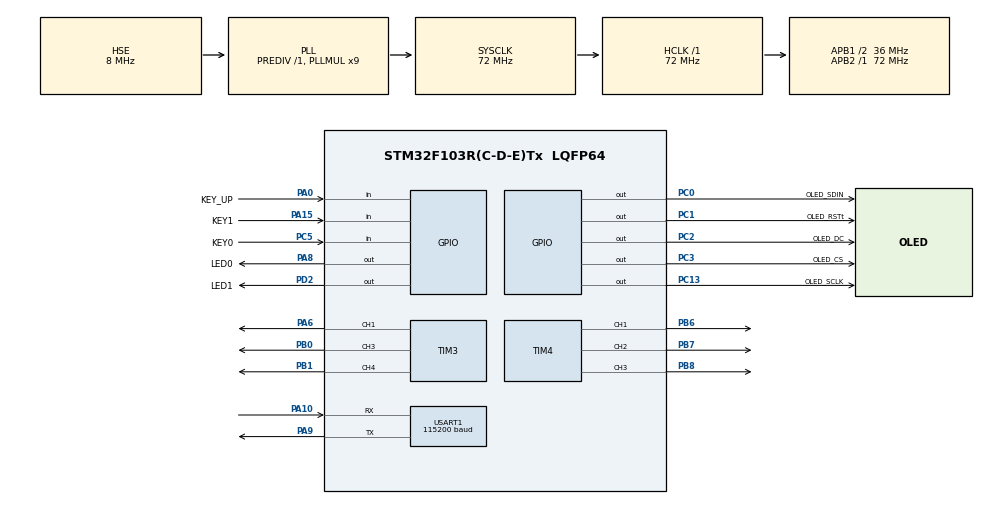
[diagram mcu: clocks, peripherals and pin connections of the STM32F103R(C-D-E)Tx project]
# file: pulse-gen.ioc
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Dma.Request0=TIM3_CH1/TRIG
Dma.Request1=TIM3_CH3
Dma.Request2=TIM3_CH4/UP
Dma.Request3=TIM4_CH1
Dma.Request4=TIM4_CH2
Dma.Request5=TIM4_CH3
Dma.TIM3_CH1/TRIG.0.Direction=DMA_MEMORY_TO_PERIPH
Dma.TIM3_CH1/TRIG.0.Instance=DMA1_Channel6
Dma.TIM3_CH1/TRIG.0.MemDataAlignment=DMA_MDATAALIGN_HALFWORD
Dma.TIM3_CH1/TRIG.0.MemInc=DMA_MINC_ENABLE
Dma.TIM3_CH1/TRIG.0.Mode=DMA_CIRCULAR
Dma.TIM3_CH1/TRIG.0.PeriphDataAlignment=DMA_PDATAALIGN_HALFWORD
Dma.TIM3_CH1/TRIG.0.PeriphInc=DMA_PINC_DISABLE
Dma.TIM3_CH1/TRIG.0.Priority=DMA_PRIORITY_VERY_HIGH
Dma.TIM3_CH3.1.Direction=DMA_MEMORY_TO_PERIPH
Dma.TIM3_CH3.1.Instance=DMA1_Channel2
Dma.TIM3_CH3.1.MemDataAlignment=DMA_MDATAALIGN_HALFWORD
Dma.TIM3_CH3.1.MemInc=DMA_MINC_ENABLE
Dma.TIM3_CH3.1.Mode=DMA_CIRCULAR
Dma.TIM3_CH3.1.PeriphDataAlignment=DMA_PDATAALIGN_HALFWORD
Dma.TIM3_CH3.1.PeriphInc=DMA_PINC_DISABLE
Dma.TIM3_CH3.1.Priority=DMA_PRIORITY_VERY_HIGH
Dma.TIM3_CH4/UP.2.Direction=DMA_MEMORY_TO_PERIPH
Dma.TIM3_CH4/UP.2.Instance=DMA1_Channel3
Dma.TIM3_CH4/UP.2.MemDataAlignment=DMA_MDATAALIGN_HALFWORD
Dma.TIM3_CH4/UP.2.MemInc=DMA_MINC_ENABLE
Dma.TIM3_CH4/UP.2.Mode=DMA_CIRCULAR
Dma.TIM3_CH4/UP.2.PeriphDataAlignment=DMA_PDATAALIGN_HALFWORD
Dma.TIM3_CH4/UP.2.PeriphInc=DMA_PINC_DISABLE
Dma.TIM3_CH4/UP.2.Priority=DMA_PRIORITY_VERY_HIGH
Dma.TIM4_CH1.3.Direction=DMA_MEMORY_TO_PERIPH
Dma.TIM4_CH1.3.Instance=DMA1_Channel1
Dma.TIM4_CH1.3.MemDataAlignment=DMA_MDATAALIGN_HALFWORD
Dma.TIM4_CH1.3.MemInc=DMA_MINC_ENABLE
Dma.TIM4_CH1.3.Mode=DMA_CIRCULAR
Dma.TIM4_CH1.3.PeriphDataAlignment=DMA_PDATAALIGN_HALFWORD
Dma.TIM4_CH1.3.PeriphInc=DMA_PINC_DISABLE
Dma.TIM4_CH1.3.Priority=DMA_PRIORITY_VERY_HIGH
Dma.TIM4_CH2.4.Direction=DMA_MEMORY_TO_PERIPH
Dma.TIM4_CH2.4.Instance=DMA1_Channel4
Dma.TIM4_CH2.4.MemDataAlignment=DMA_MDATAALIGN_HALFWORD
Dma.TIM4_CH2.4.MemInc=DMA_MINC_ENABLE
Dma.TIM4_CH2.4.Mode=DMA_CIRCULAR
Dma.TIM4_CH2.4.PeriphDataAlignment=DMA_PDATAALIGN_HALFWORD
Dma.TIM4_CH2.4.PeriphInc=DMA_PINC_DISABLE
Dma.TIM4_CH2.4.Priority=DMA_PRIORITY_VERY_HIGH
Dma.TIM4_CH3.5.Direction=DMA_MEMORY_TO_PERIPH
Dma.TIM4_CH3.5.Instance=DMA1_Channel5
Dma.TIM4_CH3.5.MemDataAlignment=DMA_MDATAALIGN_HALFWORD
Dma.TIM4_CH3.5.MemInc=DMA_MINC_ENABLE
Dma.TIM4_CH3.5.Mode=DMA_CIRCULAR
Dma.TIM4_CH3.5.PeriphDataAlignment=DMA_PDATAALIGN_HALFWORD
Dma.TIM4_CH3.5.PeriphInc=DMA_PINC_DISABLE
Dma.TIM4_CH3.5.Priority=DMA_PRIORITY_VERY_HIGH
Mcu.Family=STM32F1
Mcu.Name=STM32F103R(C-D-E)Tx
Mcu.Package=LQFP64
NVIC.PriorityGroup=NVIC_PRIORITYGROUP_4
PA0-WKUP.GPIO_Label=KEY_UP
PA0-WKUP.GPIO_PuPd=GPIO_PULLDOWN
PA0-WKUP.Signal=GPIO_Input
PA10.Mode=Asynchronous
PA10.Signal=USART1_RX
PA13.Mode=Serial_Wire
PA13.Signal=SYS_JTMS-SWDIO
PA14.Mode=Serial_Wire
PA14.Signal=SYS_JTCK-SWCLK
PA15.GPIO_Label=KEY1
PA15.GPIO_PuPd=GPIO_PULLUP
PA15.Signal=GPIO_Input
PA6.GPIO_Speed=GPIO_SPEED_FREQ_HIGH
PA6.Signal=S_TIM3_CH1
PA8.GPIO_Label=LED0
PA8.GPIO_PuPd=GPIO_PULLDOWN
PA8.PinState=GPIO_PIN_RESET
PA8.Signal=GPIO_Output
PA9.Mode=Asynchronous
PA9.Signal=USART1_TX
PB0.GPIO_Speed=GPIO_SPEED_FREQ_HIGH
PB0.Signal=S_TIM3_CH3
PB1.GPIO_Speed=GPIO_SPEED_FREQ_HIGH
PB1.Signal=S_TIM3_CH4
PB6.GPIO_Speed=GPIO_SPEED_FREQ_HIGH
PB6.Signal=S_TIM4_CH1
PB7.GPIO_Speed=GPIO_SPEED_FREQ_HIGH
PB7.Signal=S_TIM4_CH2
PB8.GPIO_Speed=GPIO_SPEED_FREQ_HIGH
PB8.Signal=S_TIM4_CH3
PC0.GPIO_Label=OLED_SDIN
PC0.GPIO_Speed=GPIO_SPEED_FREQ_MEDIUM
PC0.Signal=GPIO_Output
PC1.GPIO_Label=OLED_RST\t
PC1.GPIO_Speed=GPIO_SPEED_FREQ_MEDIUM
PC1.Signal=GPIO_Output
PC13-TAMPER-RTC.GPIO_Label=OLED_SCLK
PC13-TAMPER-RTC.GPIO_Speed=GPIO_SPEED_FREQ_MEDIUM
PC13-TAMPER-RTC.Signal=GPIO_Output
PC14-OSC32_IN.Mode=LSE-External-Oscillator
PC14-OSC32_IN.Signal=RCC_OSC32_IN
PC15-OSC32_OUT.Mode=LSE-External-Oscillator
PC15-OSC32_OUT.Signal=RCC_OSC32_OUT
PC2.GPIO_Label=OLED_DC
PC2.GPIO_Speed=GPIO_SPEED_FREQ_MEDIUM
PC2.Signal=GPIO_Output
PC3.GPIO_Label=OLED_CS
PC3.GPIO_Speed=GPIO_SPEED_FREQ_MEDIUM
PC3.Signal=GPIO_Output
PC5.GPIO_Label=KEY0
PC5.GPIO_PuPd=GPIO_PULLUP
PC5.Signal=GPIO_Input
PD0-OSC_IN.Mode=HSE-External-Oscillator
PD0-OSC_IN.Signal=RCC_OSC_IN
PD1-OSC_OUT.Mode=HSE-External-Oscillator
PD1-OSC_OUT.Signal=RCC_OSC_OUT
PD2.GPIO_Label=LED1
PD2.GPIO_PuPd=GPIO_PULLDOWN
PD2.PinState=GPIO_PIN_RESET
PD2.Signal=GPIO_Output
ProjectManager.HeapSize=0x200
ProjectManager.StackSize=0x400
ProjectManager.TargetToolchain=STM32CubeIDE
RCC.AHBFreq_Value=72000000
RCC.APB1CLKDivider=RCC_HCLK_DIV2
RCC.APB1Freq_Value=36000000
RCC.APB1TimFreq_Value=72000000
RCC.APB2Freq_Value=72000000
RCC.APB2TimFreq_Value=72000000
RCC.HCLKFreq_Value=72000000
RCC.PLLMUL=RCC_PLL_MUL9
RCC.PLLSourceVirtual=RCC_PLLSOURCE_HSE
RCC.SYSCLKFreq_VALUE=72000000
RCC.SYSCLKSource=RCC_SYSCLKSOURCE_PLLCLK
RCC.USBFreq_Value=72000000
SH.S_TIM3_CH1.0=TIM3_CH1,Output Compare1 CH1
SH.S_TIM3_CH3.0=TIM3_CH3,Output Compare3 CH3
SH.S_TIM3_CH4.0=TIM3_CH4,Output Compare4 CH4
SH.S_TIM4_CH1.0=TIM4_CH1,Output Compare1 CH1
SH.S_TIM4_CH2.0=TIM4_CH2,Output Compare2 CH2
SH.S_TIM4_CH3.0=TIM4_CH3,Output Compare3 CH3
TIM3.Channel-Output\ Compare1\ CH1=TIM_CHANNEL_1
TIM3.Channel-Output\ Compare3\ CH3=TIM_CHANNEL_3
TIM3.Channel-Output\ Compare4\ CH4=TIM_CHANNEL_4
TIM3.OCMode_1=TIM_OCMODE_FORCED_INACTIVE
TIM3.OCMode_3=TIM_OCMODE_FORCED_INACTIVE
TIM3.OCMode_4=TIM_OCMODE_FORCED_INACTIVE
TIM3.TIM_MasterOutputTrigger=TIM_TRGO_ENABLE
TIM3.TIM_MasterSlaveMode=TIM_MASTERSLAVEMODE_ENABLE
TIM4.Channel-Output\ Compare1\ CH1=TIM_CHANNEL_1
TIM4.Channel-Output\ Compare2\ CH2=TIM_CHANNEL_2
TIM4.Channel-Output\ Compare3\ CH3=TIM_CHANNEL_3
TIM4.OCMode_1=TIM_OCMODE_FORCED_INACTIVE
TIM4.OCMode_2=TIM_OCMODE_FORCED_INACTIVE
TIM4.OCMode_3=TIM_OCMODE_FORCED_INACTIVE
USART1.BaudRate=115200
USART1.Mode=MODE_TX_RX
USART1.VirtualMode=VM_ASYNC
VP_TIM3_VS_ClockSourceINT.Mode=Internal
VP_TIM4_VS_ClockSourceINT.Mode=Internal
VP_TIM4_VS_ClockSourceITR.Mode=TriggerSource_ITR2
VP_TIM4_VS_ControllerModeGated.Mode=Gated Mode
board=custom

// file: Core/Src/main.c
/* USER CODE BEGIN Header */
/**
  ******************************************************************************
  * @file           : main.c
  * @brief          : Main program body
  ******************************************************************************
  * @attention
  *
  * Copyright (c) 2026 STMicroelectronics.
  * All rights reserved.
  *
  * This software is licensed under terms that can be found in the LICENSE file
  * in the root directory of this software component.
  * If no LICENSE file comes with this software, it is provided AS-IS.
  *
  ******************************************************************************
  */
/* USER CODE END Header */
#include "main.h"
#include "dma.h"
#include "tim.h"
#include "usart.h"
#include "gpio.h"

/* USER CODE BEGIN Includes */
#include <stdio.h>
#include "pulse.h"
#include "key.h"
#include "display.h"
#include "pwm.h"
/* USER CODE END Includes */

/* USER CODE BEGIN PM */
#define LED0_ON()       HAL_GPIO_WritePin(LED0_GPIO_Port, LED0_Pin, GPIO_PIN_RESET)
#define LED0_OFF()      HAL_GPIO_WritePin(LED0_GPIO_Port, LED0_Pin, GPIO_PIN_SET)
#define LED0_BLINK()    HAL_GPIO_TogglePin(LED0_GPIO_Port, LED0_Pin)

#define LED1_ON()       HAL_GPIO_WritePin(LED1_GPIO_Port, LED1_Pin, GPIO_PIN_RESET)
#define LED1_OFF()      HAL_GPIO_WritePin(LED1_GPIO_Port, LED1_Pin, GPIO_PIN_SET)
#define LED1_BLINK()    HAL_GPIO_TogglePin(LED1_GPIO_Port, LED1_Pin)

/* USER CODE END PM */

/* USER CODE BEGIN PV */
static uint32_t g_last_tick = 0;          /* 上次1秒任务执行时刻 */
static uint32_t g_uptime_s = 0;           /* 开机以来的秒数 */
static char g_line[96];                   /* 串口打印缓冲 */

/* UI 状态机 */
typedef enum
{
  UI_HOME_BROWSE = 0,                     /* 主页浏览: 上下移动光标 */
  UI_HOME_MODESEL,                        /* 主页模式滚动选择 */
  UI_CH_PAGE,                             /* 通道选择子页 */
  UI_EDIT_PAGE                            /* 数值编辑子页 */
} ui_state_t;

static ui_state_t g_ui_state = UI_HOME_BROWSE;
static pulse_page_t g_page;               /* 主页行列表 */
static uint8_t g_cursor = 0;              /* 主页光标(页面行索引) */
static uint8_t g_scroll_top = 0;          /* 主页列表滚动起点 */
static uint8_t g_ch_cursor = 0;           /* 通道子页光标(0=Back,1~6通道,7=Sync) */
static uint8_t g_ch_scroll = 0;           /* 通道子页滚动起点 */
static pulse_edit_info_t g_edit_info;     /* 编辑子页信息 */
static pulse_mode_t g_mode_backup;        /* 进入模式选择前的备份 */
static pwm_req_t g_pwm_req;               /* PWM 启动请求(编辑/启停时组装) */
static uint8_t g_display_dirty = 1;       /* 需要刷新显示 */
/* USER CODE END PV */

void SystemClock_Config(void);

/* USER CODE BEGIN 0 */

/**
 * @brief  从业务参数组装 PWM 启动请求
 */
static void build_pwm_req(void)
{
  const pulse_param_t *p = pulse_param_get();
  uint8_t i;

  g_pwm_req.sync = p->pwm_sync;
  g_pwm_req.freq_hz[0] = p->freq_hz[0];
  g_pwm_req.freq_hz[1] = p->freq_hz[1];

  for (i = 0u; i < PWM_CH_TOTAL; i++)
  {
    g_pwm_req.ch_en[i] = p->ch[i].enabled;
    g_pwm_req.ch_duty[i] = p->ch[i].duty_bp;
    g_pwm_req.ch_phase[i] = p->ch[i].phase_pct;
  }
}

/**
 * @brief  停止 PWM 输出并同步 PWMEn 标志(UI 显示一致)
 */
static void pwm_out_stop(void)
{
  pwm_stop();

  if (pulse_param_get()->pwm_enabled)
  {
    pulse_pwm_toggle();     /* 置 OFF */
  }

  pulse_cs_disable();       /* 清零信号同步禁用(切模式/进子页时UI一致) */
}

/**
 * @brief  尝试启动清零+单脉冲输出(校验失败不动作)
 * @return 1=已应用, 0=校验失败
 */
static uint8_t cs_out_apply(void)
{
  const pulse_param_t *p = pulse_param_get();

  if (pwm_cs_validate(p->cs_freq_hz, p->cs_clrw_us, p->cs_clri_us, p->cs_pulse_us) == 0u)
  {
    printf("CS apply: validate FAIL (F=%lu ClrW=%lu ClrI=%lu Pulse=%lu)\r\n",
           (unsigned long)p->cs_freq_hz, (unsigned long)p->cs_clrw_us,
           (unsigned long)p->cs_clri_us, (unsigned long)p->cs_pulse_us);
    return 0u;
  }

  pwm_cs_apply(p->cs_freq_hz, p->cs_clrw_us, p->cs_clri_us, p->cs_pulse_us,
               p->cs_enabled);
  return 1u;
}

/**
 * @brief  尝试启动 PWM 输出: 校验失败不动作(配置恒为可启动合法态)
 */
static void pwm_out_start(void)
{
  build_pwm_req();

  if (pwm_validate(&g_pwm_req) == 0u)
  {
    printf("PWM start: validate FAIL (freq=%lu/%luHz sync=%u)\r\n",
           (unsigned long)g_pwm_req.freq_hz[0],
           (unsigned long)g_pwm_req.freq_hz[1], g_pwm_req.sync);
    return;
  }

  if (pwm_apply(&g_pwm_req))
  {
    printf("PWM start OK: F=%luHz sync=%u CEN3=%u CEN4=%u\r\n",
           (unsigned long)g_pwm_req.freq_hz[0], g_pwm_req.sync,
           (unsigned)((TIM3->CR1 & TIM_CR1_CEN) != 0u),
           (unsigned)((TIM4->CR1 & TIM_CR1_CEN) != 0u));
    if (!pulse_param_get()->pwm_enabled)
    {
      pulse_pwm_toggle();   /* 置 ON */
    }
  }
  else
  {
    printf("PWM start: apply FAIL\r\n");
  }
}

/**
 * @brief  按住时长映射为编辑步进倍率: 短按=1, 按住2s后=10, 5s后=100
 */
static uint32_t edit_step_mult(key_id_t id)
{
  uint32_t hold = key_hold_ms(id);

  if (hold >= 5000u)
  {
    return 100u;
  }

  if (hold >= 2000u)
  {
    return 10u;
  }

  return 1u;
}

/**
 * @brief  重建主页行列表并钳制光标/滚动位置
 */
static void main_rebuild_page(void)
{
  pulse_build_main_page(&g_page);

  if (g_cursor >= g_page.count)
  {
    g_cursor = (uint8_t)(g_page.count - 1u);
  }
}

/**
 * @brief  主页列表滚动跟随光标: 4行窗口, 所有行(含模式行)同权滚动
 */
static void main_fix_scroll(void)
{
  if (g_page.count <= 4u)
  {
    g_scroll_top = 0u;
    return;
  }

  if (g_scroll_top > (uint8_t)(g_page.count - 4u))
  {
    g_scroll_top = (uint8_t)(g_page.count - 4u);
  }

  if (g_cursor < g_scroll_top)
  {
    g_scroll_top = g_cursor;
  }

  if (g_cursor > (uint8_t)(g_scroll_top + 3u))
  {
    g_scroll_top = (uint8_t)(g_cursor - 3u);
  }
}

/**
 * @brief  通道子页滚动跟随光标(4行窗口, 5行内容)
 */
static void ch_fix_scroll(void)
{
  if (g_ch_cursor < g_ch_scroll)
  {
    g_ch_scroll = g_ch_cursor;
  }

  if (g_ch_cursor > (uint8_t)(g_ch_scroll + 3u))
  {
    g_ch_scroll = (uint8_t)(g_ch_cursor - 3u);
  }
}

/**
 * @brief  处理一个按键事件(电视遥控式交互)
 *  主页浏览: 上/下移动光标; 确认: 模式行进滚动选择, CHSel进通道子页, 数值行进编辑子页
 *  模式选择: 上/下实时切换模式(各模式参数独立), 短按确认锁定, 长按取消恢复
 *  通道子页: 确认直接翻转勾选, Back行确认返回; 长按确认也返回
 *  编辑子页: 上/下改值, 短按确认保存返回, 长按确认取消恢复
 */
static void ui_handle_event(key_event_t ev, key_id_t id)
{
  uint8_t move = (ev == KEY_EVENT_DOWN) || (ev == KEY_EVENT_REPEAT);

  switch (g_ui_state)
  {
    case UI_HOME_BROWSE:
      if (move && id == KEY_ID_UP)
      {
        g_cursor = (g_cursor == 0u)
                   ? (uint8_t)(g_page.count - 1u) : (uint8_t)(g_cursor - 1u);
        main_fix_scroll();
      }
      else if (move && id == KEY_ID_DOWN)
      {
        g_cursor = (g_cursor >= (uint8_t)(g_page.count - 1u))
                   ? 0u : (uint8_t)(g_cursor + 1u);
        main_fix_scroll();
      }
      else if (id == KEY_ID_CONFIRM && ev == KEY_EVENT_RELEASE_SHORT)
      {
        uint8_t type = g_page.row[g_cursor].type;

        if (type == (uint8_t)PULSE_ROW_MODE)
        {
          g_mode_backup = pulse_param_get()->mode;
          g_ui_state = UI_HOME_MODESEL;
        }
        else if (type == (uint8_t)PULSE_ROW_CHSEL)
        {
          /* 进通道子页前禁用输出(用户约定: 退出后保持停止, 手动PWMEn恢复) */
          pwm_out_stop();
          g_ch_cursor = 0u;
          g_ch_scroll = 0u;
          g_ui_state = UI_CH_PAGE;
        }
        else if (type == (uint8_t)PULSE_ROW_PWM_EN)
        {
          /* 布尔项: 确认直接翻转; ON=按当前参数启动输出 */
          if (!pulse_param_get()->pwm_enabled)
          {
            pwm_out_start();
          }
          else
          {
            pwm_out_stop();
          }
        }
        else if (type == (uint8_t)PULSE_ROW_CS_EN)
        {
          /* 清零使能: ON=启动清零流(T3连续+触发链); OFF=全停 */
          pulse_cs_toggle();

          if (pulse_param_get()->cs_enabled)
          {
            if (cs_out_apply() == 0u)
            {
              pulse_cs_toggle();    /* 校验失败回滚, 保持OFF */
            }
          }
          else
          {
            pwm_stop();             /* 全停(含武装中的T4) */
          }
        }
        else if (type == (uint8_t)PULSE_ROW_TIM_FREQ ||
                 type == (uint8_t)PULSE_ROW_CH_DUTY ||
                 type == (uint8_t)PULSE_ROW_CH_PHASE ||
                 type == (uint8_t)PULSE_ROW_DUAL_P1 ||
                 type == (uint8_t)PULSE_ROW_DUAL_GAP ||
                 type == (uint8_t)PULSE_ROW_DUAL_P2 ||
                 type == (uint8_t)PULSE_ROW_CS_FREQ ||
                 type == (uint8_t)PULSE_ROW_CS_CLRW ||
                 type == (uint8_t)PULSE_ROW_CS_CLRI ||
                 type == (uint8_t)PULSE_ROW_CS_PULSE)
        {
          if (pulse_begin_edit(type, g_page.row[g_cursor].idx, &g_edit_info))
          {
            g_ui_state = UI_EDIT_PAGE;
          }
        }
        else if (type == (uint8_t)PULSE_ROW_TRIGGER)
        {
          /* 触发脉冲: 确认一次触发一次
           * 双脉冲模式 = 真触发(固定全通道齐发 P1/Gap/P2, 运行中丢弃;
           *              PWM模式的通道勾选仅作用于PWM模式)
           * 其他模式   = 计数桩(硬件后配) */
          const pulse_param_t *pp = pulse_param_get();

          if ((pp->mode == PULSE_MODE_DUAL) &&
              pwm_fire_dual(pp->dual_p1_us, pp->dual_gap_us, pp->dual_p2_us))
          {
            pulse_trigger_fire();     /* 计数+LED反馈走原有路径 */
          }
          else if (pp->mode == PULSE_MODE_DUAL)
          {
            printf(">> Dual fire FAIL (busy/resolution)\r\n");
          }
          else if (pp->mode == PULSE_MODE_CLEAR_SINGLE)
          {
            /* 清零+单脉冲: 武装T4, 下一清零周期的clrw+clri处出一个单脉冲 */
            if (pwm_cs_fire())
            {
              pulse_trigger_fire();
            }
            else
            {
              printf(">> CS fire FAIL (ClrEn off / busy)\r\n");
            }
          }
          else
          {
            pulse_trigger_fire();
          }
        }
      }
      break;

    case UI_HOME_MODESEL:
      if (move && id == KEY_ID_UP)
      {
        pulse_mode_t old_mode = pulse_param_get()->mode;

        pulse_param_set_mode((pulse_mode_t)((pulse_param_get()->mode + PULSE_MODE_COUNT - 1u) % PULSE_MODE_COUNT));

        /* 切模式必停输出(含PWMEn标志复位, UI一致) */
        if (pulse_param_get()->mode != old_mode)
        {
          pwm_out_stop();
        }

        main_rebuild_page();
        main_fix_scroll();
      }
      else if (move && id == KEY_ID_DOWN)
      {
        pulse_mode_t old_mode = pulse_param_get()->mode;

        pulse_param_set_mode((pulse_mode_t)((pulse_param_get()->mode + 1u) % PULSE_MODE_COUNT));

        if (pulse_param_get()->mode != old_mode)
        {
          pwm_out_stop();
        }

        main_rebuild_page();
        main_fix_scroll();
      }
      else if (id == KEY_ID_CONFIRM && ev == KEY_EVENT_RELEASE_SHORT)
      {
        /* 锁定: 模式有变化则停输出(PWM参数归PWM模式私有) */
        if (pulse_param_get()->mode != g_mode_backup)
        {
          pwm_out_stop();
        }
        g_ui_state = UI_HOME_BROWSE;
      }
      else if (id == KEY_ID_CONFIRM && ev == KEY_EVENT_LONG)
      {
        /* 取消, 恢复原模式 */
        pulse_param_set_mode(g_mode_backup);
        main_rebuild_page();
        main_fix_scroll();
        g_ui_state = UI_HOME_BROWSE;
      }
      break;

    case UI_CH_PAGE:
      if (move && id == KEY_ID_UP)
      {
        g_ch_cursor = (g_ch_cursor == 0u)
                      ? (uint8_t)(PULSE_CH_COUNT + 1u) : (uint8_t)(g_ch_cursor - 1u);
        ch_fix_scroll();
      }
      else if (move && id == KEY_ID_DOWN)
      {
        g_ch_cursor = (g_ch_cursor >= PULSE_CH_COUNT + 1u)
                      ? 0u : (uint8_t)(g_ch_cursor + 1u);
        ch_fix_scroll();
      }
      else if (id == KEY_ID_CONFIRM && ev == KEY_EVENT_RELEASE_SHORT)
      {
        if (g_ch_cursor == 0u)
        {
          g_ui_state = UI_HOME_BROWSE;      /* Back行: 返回主页 */
        }
        else if (g_ch_cursor == (uint8_t)(PULSE_CH_COUNT + 1u))
        {
          /* 同步选项: T3主T4从, 勾选后共用一个频率 */
          pulse_sync_toggle();
          main_rebuild_page();      /* 主页频率行数随同步状态变化 */
          main_fix_scroll();
        }
        else
        {
          /* 布尔勾选: 确认直接翻转(映射回通道索引) */
          pulse_ch_toggle((uint8_t)(g_ch_cursor - 1u));
          main_rebuild_page();      /* 主页行数随勾选变化 */
          main_fix_scroll();
        }
      }
      else if (id == KEY_ID_CONFIRM && ev == KEY_EVENT_LONG)
      {
        g_ui_state = UI_HOME_BROWSE;
      }
      break;

    case UI_EDIT_PAGE:
      if (move && (id == KEY_ID_UP || id == KEY_ID_DOWN))
      {
        pulse_edit_step((id == KEY_ID_UP) ? -1 : 1,    /* 上=减 下=加 */
                        edit_step_mult(id));           /* 按住越久步进越大 */
        g_edit_info.value = pulse_edit_value();   /* 同步编辑页显示值 */
      }
      else if (id == KEY_ID_CONFIRM)
      {
        if (ev == KEY_EVENT_RELEASE_SHORT)
        {
          const pulse_param_t *pe = pulse_param_get();

          if (pe->mode == PULSE_MODE_CLEAR_SINGLE)
          {
            /* CS模式: 独立校验(clear+interval+pulse须装进一个周期) */
            if (pwm_cs_validate(pe->cs_freq_hz, pe->cs_clrw_us,
                                pe->cs_clri_us, pe->cs_pulse_us))
            {
              pulse_edit_commit();    /* 保存返回 */
              g_ui_state = UI_HOME_BROWSE;

              /* 清零流运行中: 停-配-启切到新参数(保持使能标志) */
              if (pwm_is_running() && pe->cs_enabled)
              {
                (void)cs_out_apply();
              }
            }
            else
            {
              pulse_edit_cancel();    /* 拒绝: 值恢复, 输出继续跑旧参数 */
            }
          }
          else
          {
            /* PWM/双脉冲: 方案A, 校验整个PWM配置, 非法则拒绝本次编辑(值回滚) */
            build_pwm_req();          /* 含刚改过的值 */

            if (pwm_validate(&g_pwm_req))
            {
              pulse_edit_commit();    /* 保存返回 */
              g_ui_state = UI_HOME_BROWSE;

              /* 输出运行中: 停-配-启瞬间切换到新参数 */
              if (pwm_is_running())
              {
                pwm_stop();
                (void)pwm_apply(&g_pwm_req);
              }
            }
            else
            {
              pulse_edit_cancel();    /* 拒绝: 值恢复, 输出继续跑旧参数 */
            }
          }
        }
        else if (ev == KEY_EVENT_LONG)
        {
          pulse_edit_cancel();      /* 取消恢复 */
          g_ui_state = UI_HOME_BROWSE;
        }
      }
      break;

    default:
      g_ui_state = UI_HOME_BROWSE;
      break;
  }

  g_display_dirty = 1;
}

/**
 * @brief  每1秒执行一次的任务: 串口打印 + LED心跳 + 显示刷新标记
 */
static void app_1s_task(void)
{
  const pulse_param_t *p = pulse_param_get();

  g_uptime_s++;

  /* LED0 每2秒翻转一次, 作为心跳指示 */
  if (g_uptime_s % 2 == 0)
  {
    LED0_BLINK();
  }

  snprintf(g_line, sizeof(g_line),
           "Hello, uptime:%lus | Mode=%s PWMEN=%u SYNC=%u TRIG=%lu | T3=%luHz T4=%luHz | "
           "C1[%u] D%u.%02u P%u C2[%u] D%u.%02u P%u C3[%u] D%u.%02u P%u "
           "C4[%u] D%u.%02u P%u C5[%u] D%u.%02u P%u C6[%u] D%u.%02u P%u\r\n",
           (unsigned long)g_uptime_s, pulse_mode_name(p->mode), p->pwm_enabled,
           p->pwm_sync, (unsigned long)pulse_trigger_count(),
           (unsigned long)p->freq_hz[0], (unsigned long)p->freq_hz[1],
           p->ch[0].enabled, p->ch[0].duty_bp / 100u, p->ch[0].duty_bp % 100u, p->ch[0].phase_pct,
           p->ch[1].enabled, p->ch[1].duty_bp / 100u, p->ch[1].duty_bp % 100u, p->ch[1].phase_pct,
           p->ch[2].enabled, p->ch[2].duty_bp / 100u, p->ch[2].duty_bp % 100u, p->ch[2].phase_pct,
           p->ch[3].enabled, p->ch[3].duty_bp / 100u, p->ch[3].duty_bp % 100u, p->ch[3].phase_pct,
           p->ch[4].enabled, p->ch[4].duty_bp / 100u, p->ch[4].duty_bp % 100u, p->ch[4].phase_pct,
           p->ch[5].enabled, p->ch[5].duty_bp / 100u, p->ch[5].duty_bp % 100u, p->ch[5].phase_pct);
  printf("%s", g_line);

  /* 模式行秒数更新, 走整页刷新 */
  g_display_dirty = 1;
}

/* USER CODE END 0 */

int main(void)
{

  /* MCU Configuration--------------------------------------------------------*/

  /* Reset of all peripherals, Initializes the Flash interface and the Systick. */
  HAL_Init();

  /* Configure the system clock */
  SystemClock_Config();

  /* Initialize all configured peripherals */
  MX_GPIO_Init();
  MX_DMA_Init();
  MX_USART1_UART_Init();
  MX_TIM3_Init();
  MX_TIM4_Init();
  /* USER CODE BEGIN 2 */
  LED1_OFF();
  pulse_param_init();
  printf("param load %s\r\n", pulse_param_load() ? "OK(flash)" : "DEFAULT");
  key_init();
  display_init();
  main_rebuild_page();
  printf("pulse-gen started\r\n");

  g_last_tick = HAL_GetTick();
  /* USER CODE END 2 */

  /* Infinite loop */
  /* USER CODE BEGIN WHILE */
  while (1)
  {
    /* 按键扫描: 处理本轮所有按键事件 */
    key_id_t key_id;
    key_event_t key_ev;

    while ((key_ev = key_scan(&key_id)) != KEY_EVENT_NONE)
    {
      ui_handle_event(key_ev, key_id);
    }

    /* 按需刷新显示(整页约8ms, 不脏不刷) */
    if (g_display_dirty)
    {
      g_display_dirty = 0;

      switch (g_ui_state)
      {
        case UI_HOME_BROWSE:
        case UI_HOME_MODESEL:
          display_show_main_page(&g_page, g_cursor, g_scroll_top,
                                 (g_ui_state == UI_HOME_MODESEL), g_uptime_s);
          break;

        case UI_CH_PAGE:
          display_show_ch_page(pulse_param_get(), g_ch_cursor, g_ch_scroll);
          break;

        case UI_EDIT_PAGE:
          display_show_edit_page(&g_edit_info);
          break;

        default:
          break;
      }
    }

    /* 触发脉冲即时反馈: LED1闪 + 串口打印 */
    {
      static uint32_t s_last_trig = 0;
      uint32_t tc = pulse_trigger_count();

      if (tc != s_last_trig)
      {
        s_last_trig = tc;
        LED1_BLINK();
        printf(">> Trigger #%lu (Mode=%s)\r\n", (unsigned long)tc,
               pulse_mode_name(pulse_param_get()->mode));
      }
    }

    /* 双脉冲序列完成检测(OPM 计满自动停机, 此处收尾) */
    if (pwm_oneshot_poll())
    {
      printf(">> Dual done\r\n");
    }

    /* 清零+单脉冲完成检测(更新中断已卸装, 此处仅打印) */
    if (pwm_cs_poll())
    {
      printf(">> CS pulse done\r\n");
    }

    /* 非阻塞1秒调度 */
    if (HAL_GetTick() - g_last_tick >= 1000)
    {
      g_last_tick += 1000;
      app_1s_task();
    }

    /* USER CODE END WHILE */

  }
}

void SystemClock_Config(void)
{
  RCC_OscInitTypeDef RCC_OscInitStruct = {0};
  RCC_ClkInitTypeDef RCC_ClkInitStruct = {0};

  /** Initializes the RCC Oscillators according to the specified parameters
  * in the RCC_OscInitTypeDef structure.
  */
  RCC_OscInitStruct.OscillatorType = RCC_OSCILLATORTYPE_HSE;
  RCC_OscInitStruct.HSEState = RCC_HSE_ON;
  RCC_OscInitStruct.HSEPredivValue = RCC_HSE_PREDIV_DIV1;
  RCC_OscInitStruct.HSIState = RCC_HSI_ON;
  RCC_OscInitStruct.PLL.PLLState = RCC_PLL_ON;
  RCC_OscInitStruct.PLL.PLLSource = RCC_PLLSOURCE_HSE;
  RCC_OscInitStruct.PLL.PLLMUL = RCC_PLL_MUL9;
  if (HAL_RCC_OscConfig(&RCC_OscInitStruct) != HAL_OK)
  {
    Error_Handler();
  }

  /** Initializes the CPU, AHB and APB buses clocks
  */
  RCC_ClkInitStruct.ClockType = RCC_CLOCKTYPE_HCLK|RCC_CLOCKTYPE_SYSCLK
                              |RCC_CLOCKTYPE_PCLK1|RCC_CLOCKTYPE_PCLK2;
  RCC_ClkInitStruct.SYSCLKSource = RCC_SYSCLKSOURCE_PLLCLK;
  RCC_ClkInitStruct.AHBCLKDivider = RCC_SYSCLK_DIV1;
  RCC_ClkInitStruct.APB1CLKDivider = RCC_HCLK_DIV2;
  RCC_ClkInitStruct.APB2CLKDivider = RCC_HCLK_DIV1;

  if (HAL_RCC_ClockConfig(&RCC_ClkInitStruct, FLASH_LATENCY_2) != HAL_OK)
  {
    Error_Handler();
  }
}

void Error_Handler(void)
{
  __disable_irq();
  while (1)
  {
  }
}
